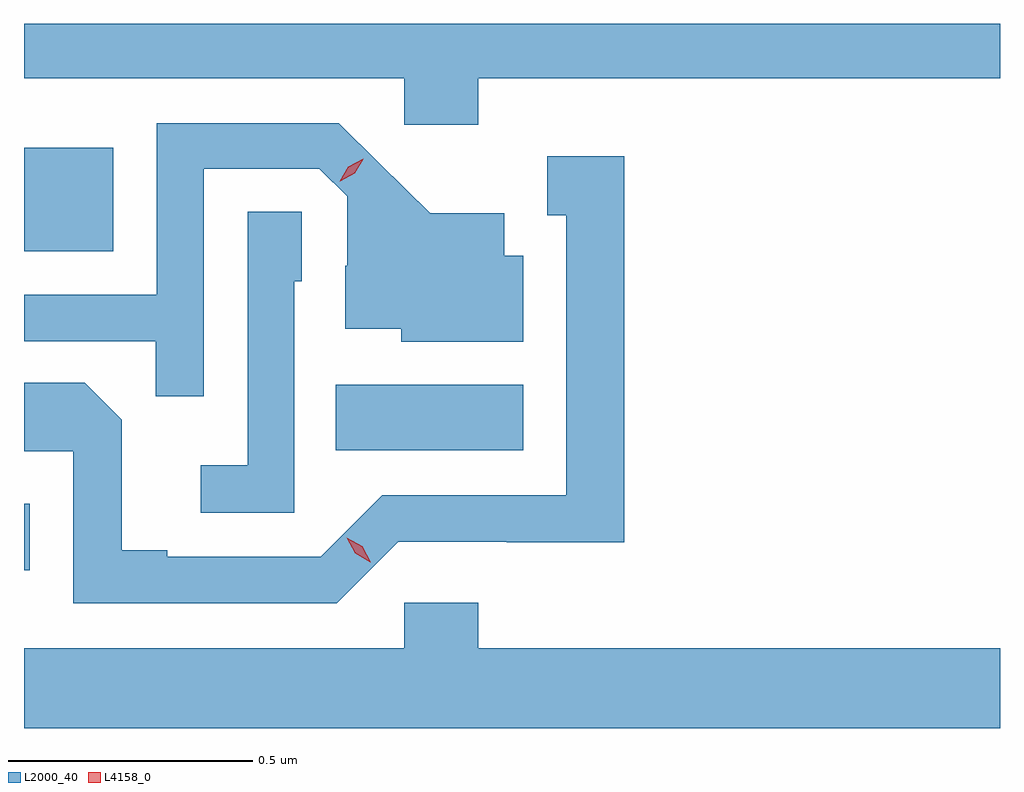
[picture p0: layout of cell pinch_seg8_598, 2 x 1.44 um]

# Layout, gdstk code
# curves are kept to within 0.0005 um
import gdstk
lib = gdstk.Library(unit=1e-6, precision=1e-09)
def R(c, l, rs):  # rectangles x0, y0, x1, y1
    for r in rs: c.add(gdstk.rectangle(r[:2], r[2:], *l))
def P(c, l, *ps):  # polygons
    for p in ps: c.add(gdstk.Polygon(p, *l))
L2000_40 = (2000, 40)
L4158_0 = (4158, 0)

pinch_seg8_598 = lib.new_cell('pinch_seg8_598')
R(pinch_seg8_598, L2000_40, [(162.481,1083.524,162.493,1083.66), (163.12,1083.77,163.504,1083.904), (162.481,1084.178,162.664,1084.39)])
P(pinch_seg8_598, L2000_40, [(163.412,1084.532),(164.481,1084.532),(164.481,1084.644),(162.481,1084.644),(162.481,1084.532),(163.26,1084.532),(163.26,1084.437),(163.412,1084.437)],
  [(162.849,1084.347),(163.086,1084.347),(163.143,1084.29),(163.143,1084.148),(163.139,1084.148),(163.139,1084.019),(163.254,1084.019),(163.254,1083.992),(163.504,1083.992),(163.504,1084.168),(163.465,1084.168),(163.465,1084.255),(163.313,1084.255),(163.126,1084.44),(162.753,1084.44),(162.753,1084.089),(162.481,1084.089),(162.481,1083.993),(162.751,1083.993),(162.751,1083.88),(162.849,1083.88)],
  [(163.248,1083.582),(163.47,1083.582),(163.47,1083.581),(163.711,1083.581),(163.711,1084.372),(163.553,1084.372),(163.553,1084.251),(163.592,1084.251),(163.592,1083.678),(163.215,1083.678),(163.089,1083.552),(162.775,1083.552),(162.775,1083.565),(162.681,1083.565),(162.681,1083.832),(162.605,1083.908),(162.481,1083.908),(162.481,1083.768),(162.582,1083.768),(162.582,1083.456),(163.122,1083.456)],
  [(163.035,1084.116),(163.05,1084.116),(163.05,1084.259),(162.939,1084.259),(162.939,1083.739),(162.843,1083.739),(162.843,1083.642),(163.035,1083.642)],
  [(164.481,1083.364),(163.412,1083.364),(163.412,1083.457),(163.26,1083.457),(163.26,1083.364),(162.481,1083.364),(162.481,1083.2),(164.481,1083.2)])
P(pinch_seg8_598, L4158_0, [(163.191,1083.54),(163.16,1083.559),(163.142,1083.591),(163.142,1083.591),(163.142,1083.591),(163.174,1083.573),(163.192,1083.54),(163.192,1083.54)],
  [(163.128,1084.321),(163.128,1084.321),(163.145,1084.351),(163.176,1084.367),(163.176,1084.367),(163.176,1084.366),(163.159,1084.337),(163.129,1084.321)])

lib.write_gds('pinch_seg8_598.gds')
